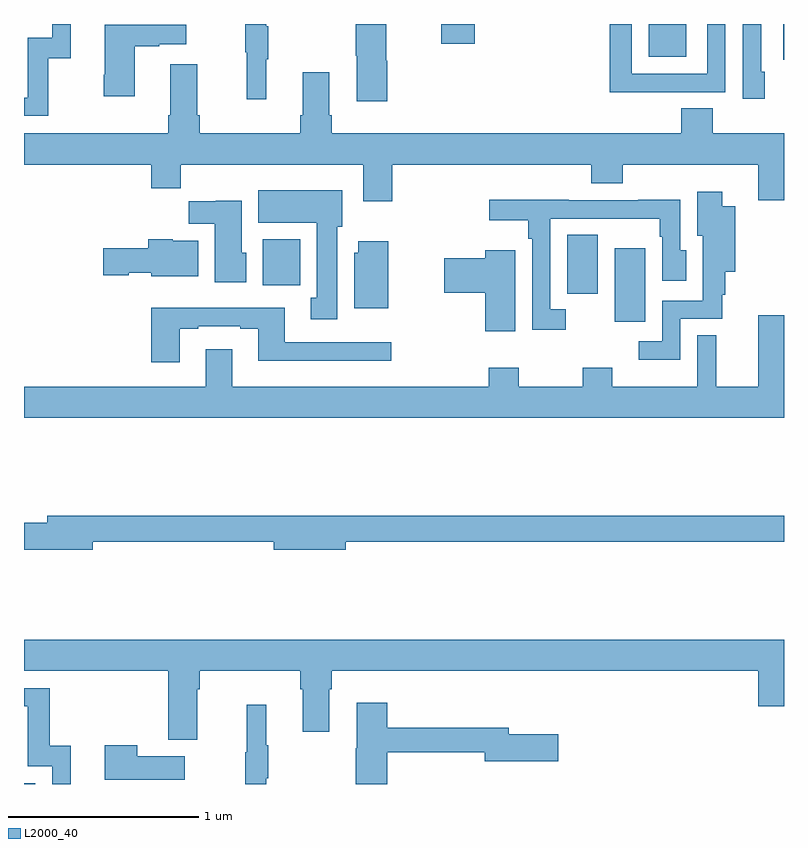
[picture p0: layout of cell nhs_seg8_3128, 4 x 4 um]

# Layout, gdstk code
import gdstk
lib = gdstk.Library(unit=1e-6, precision=1e-09)
def R(c, l, rs):  # rectangles x0, y0, x1, y1
    for r in rs: c.add(gdstk.rectangle(r[:2], r[2:], *l))
def P(c, l, *ps):  # polygons
    for p in ps: c.add(gdstk.Polygon(p, *l))
L2000_40 = (2000, 40)

nhs_seg8_3128 = lib.new_cell('nhs_seg8_3128')
R(nhs_seg8_3128, L2000_40, [(305,1119.9,305.058,1119.903), (308.108,1122.332,308.269,1122.721), (307.859,1122.48,308.02,1122.791), (306.257,1122.524,306.454,1122.766), (308.996,1123.711,309,1123.9), (308.288,1123.727,308.485,1123.9), (307.195,1123.797,307.373,1123.9)])
P(nhs_seg8_3128, L2000_40, [(308.375,1123.542),(308.691,1123.542),(308.691,1123.9),(308.595,1123.9),(308.595,1123.638),(308.199,1123.638),(308.199,1123.9),(308.083,1123.9),(308.083,1123.541),(308.375,1123.541)],
  [(306.275,1123.715),(306.286,1123.715),(306.286,1123.889),(306.275,1123.889),(306.275,1123.9),(306.165,1123.9),(306.165,1123.752),(306.172,1123.752),(306.172,1123.503),(306.275,1123.503)],
  [(305.128,1123.719),(305.246,1123.719),(305.246,1123.9),(305.148,1123.9),(305.148,1123.827),(305.019,1123.827),(305.019,1123.512),(305,1123.512),(305,1123.416),(305.128,1123.416)],
  [(306.911,1123.706),(306.906,1123.706),(306.906,1123.9),(306.745,1123.9),(306.745,1123.732),(306.752,1123.732),(306.752,1123.494),(306.911,1123.494)],
  [(308.899,1123.65),(308.88,1123.65),(308.88,1123.9),(308.784,1123.9),(308.784,1123.506),(308.899,1123.506)],
  [(305.584,1123.783),(305.711,1123.783),(305.711,1123.793),(305.854,1123.793),(305.854,1123.897),(305.426,1123.897),(305.426,1123.633),(305.419,1123.633),(305.419,1123.521),(305.584,1123.521)],
  [(306.938,1123.16),(307.985,1123.16),(307.985,1123.061),(308.15,1123.061),(308.15,1123.16),(308.864,1123.16),(308.864,1122.972),(309,1122.972),(309,1123.324),(308.624,1123.324),(308.624,1123.457),(308.459,1123.457),(308.459,1123.324),(306.62,1123.324),(306.62,1123.42),(306.607,1123.42),(306.607,1123.645),(306.467,1123.645),(306.467,1123.42),(306.455,1123.42),(306.455,1123.324),(305.924,1123.324),(305.924,1123.42),(305.911,1123.42),(305.911,1123.687),(305.771,1123.687),(305.771,1123.42),(305.759,1123.42),(305.759,1123.324),(305,1123.324),(305,1123.16),(305.669,1123.16),(305.669,1123.036),(305.825,1123.036),(305.825,1123.16),(306.785,1123.16),(306.785,1122.966),(306.938,1122.966)],
  [(306.649,1122.834),(306.676,1122.834),(306.676,1123.024),(306.233,1123.024),(306.233,1122.854),(306.542,1122.854),(306.542,1122.458),(306.509,1122.458),(306.509,1122.345),(306.649,1122.345)],
  [(308.454,1122.348),(308.674,1122.348),(308.674,1122.476),(308.692,1122.476),(308.692,1122.596),(308.744,1122.596),(308.744,1122.94),(308.674,1122.94),(308.674,1123.018),(308.543,1123.018),(308.543,1122.785),(308.573,1122.785),(308.573,1122.444),(308.358,1122.444),(308.358,1122.231),(308.235,1122.231),(308.235,1122.134),(308.454,1122.134)],
  [(307.852,1122.399),(307.77,1122.399),(307.77,1122.876),(308.116,1122.876),(308.116,1122.875),(308.346,1122.875),(308.346,1122.779),(308.358,1122.779),(308.358,1122.549),(308.485,1122.549),(308.485,1122.708),(308.454,1122.708),(308.454,1122.974),(308.233,1122.974),(308.233,1122.972),(307.867,1122.972),(307.867,1122.974),(307.449,1122.974),(307.449,1122.866),(307.654,1122.866),(307.654,1122.77),(307.674,1122.77),(307.674,1122.291),(307.852,1122.291)],
  [(306.169,1122.696),(306.145,1122.696),(306.145,1122.97),(306.009,1122.97),(306.009,1122.966),(305.866,1122.966),(305.866,1122.848),(306.005,1122.848),(306.005,1122.542),(306.169,1122.542)],
  [(305.917,1122.76),(305.784,1122.76),(305.784,1122.766),(305.654,1122.766),(305.654,1122.72),(305.418,1122.72),(305.418,1122.578),(305.55,1122.578),(305.55,1122.59),(305.67,1122.59),(305.67,1122.572),(305.917,1122.572)],
  [(306.916,1122.757),(306.758,1122.757),(306.758,1122.696),(306.737,1122.696),(306.737,1122.404),(306.916,1122.404)],
  [(307.585,1122.709),(307.427,1122.709),(307.427,1122.668),(307.212,1122.668),(307.212,1122.485),(307.427,1122.485),(307.427,1122.282),(307.585,1122.282)],
  [(305.821,1122.297),(305.917,1122.297),(305.917,1122.309),(306.137,1122.309),(306.137,1122.297),(306.233,1122.297),(306.233,1122.128),(306.934,1122.128),(306.934,1122.225),(306.373,1122.225),(306.373,1122.406),(305.669,1122.406),(305.669,1122.12),(305.821,1122.12)],
  [(309,1122.367),(308.864,1122.367),(308.864,1121.992),(308.644,1121.992),(308.644,1122.263),(308.543,1122.263),(308.543,1121.992),(308.097,1121.992),(308.097,1122.091),(307.942,1122.091),(307.942,1121.992),(307.605,1121.992),(307.605,1122.091),(307.445,1122.091),(307.445,1121.992),(306.097,1121.992),(306.097,1122.187),(305.957,1122.187),(305.957,1121.992),(305,1121.992),(305,1121.828),(309,1121.828)],
  [(305.362,1121.176),(306.314,1121.176),(306.314,1121.134),(306.694,1121.134),(306.694,1121.176),(309,1121.176),(309,1121.312),(305.123,1121.312),(305.123,1121.276),(305,1121.276),(305,1121.134),(305.362,1121.134)],
  [(305.911,1120.4),(305.924,1120.4),(305.924,1120.496),(306.455,1120.496),(306.455,1120.4),(306.467,1120.4),(306.467,1120.176),(306.607,1120.176),(306.607,1120.4),(306.62,1120.4),(306.62,1120.496),(308.864,1120.496),(308.864,1120.308),(309,1120.308),(309,1120.66),(305,1120.66),(305,1120.496),(305.759,1120.496),(305.759,1120.134),(305.911,1120.134)],
  [(305.246,1120.102),(305.135,1120.102),(305.135,1120.404),(305,1120.404),(305,1120.308),(305.019,1120.308),(305.019,1119.993),(305.148,1119.993),(305.148,1119.9),(305.246,1119.9)],
  [(306.911,1120.066),(307.424,1120.066),(307.424,1120.019),(307.813,1120.019),(307.813,1120.161),(307.552,1120.161),(307.552,1120.195),(306.911,1120.195),(306.911,1120.327),(306.752,1120.327),(306.752,1120.089),(306.745,1120.089),(306.745,1119.9),(306.911,1119.9)],
  [(306.275,1119.931),(306.286,1119.931),(306.286,1120.105),(306.275,1120.105),(306.275,1120.318),(306.172,1120.318),(306.172,1120.068),(306.165,1120.068),(306.165,1119.9),(306.275,1119.9)],
  [(305.845,1120.045),(305.597,1120.045),(305.597,1120.105),(305.426,1120.105),(305.426,1119.923),(305.845,1119.923)])

lib.write_gds('nhs_seg8_3128.gds')
